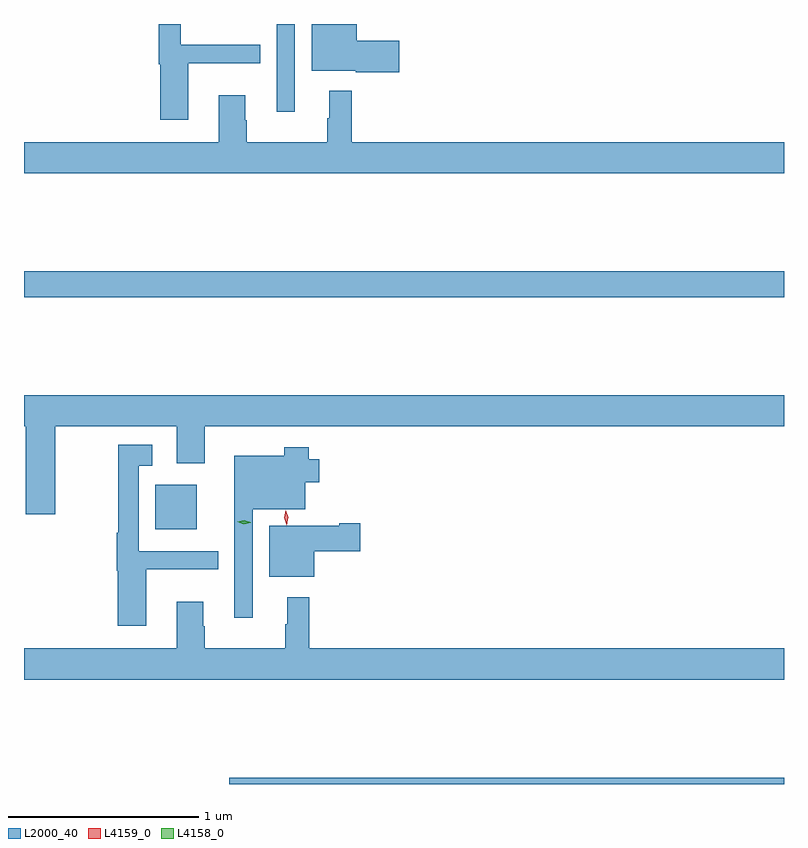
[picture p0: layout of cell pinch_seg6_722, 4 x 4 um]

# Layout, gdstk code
import gdstk
lib = gdstk.Library(unit=1e-6, precision=1e-09)
def R(c, l, rs):  # rectangles x0, y0, x1, y1
    for r in rs: c.add(gdstk.rectangle(r[:2], r[2:], *l))
def P(c, l, *ps):  # polygons
    for p in ps: c.add(gdstk.Polygon(p, *l))
L2000_40 = (2000, 40)
L4158_0 = (4158, 0)
L4159_0 = (4159, 0)

pinch_seg6_722 = lib.new_cell('pinch_seg6_722')
R(pinch_seg6_722, L2000_40, [(507.143,936.13,510.064,936.164), (506.756,937.472,506.974,937.705), (506.064,938.692,510.064,938.828), (507.393,939.669,507.489,940.13)])
P(pinch_seg6_722, L2000_40, [(508.039,940.042),(507.814,940.042),(507.814,940.13),(507.578,940.13),(507.578,939.884),(507.81,939.884),(507.81,939.877),(508.039,939.877)],
  [(506.929,939.923),(507.308,939.923),(507.308,940.02),(506.889,940.02),(506.889,940.13),(506.773,940.13),(506.773,939.917),(506.78,939.917),(506.78,939.627),(506.929,939.627)],
  [(510.064,939.508),(507.788,939.508),(507.788,939.778),(507.671,939.778),(507.671,939.635),(507.66,939.635),(507.66,939.508),(507.237,939.508),(507.237,939.623),(507.229,939.623),(507.229,939.754),(507.089,939.754),(507.089,939.508),(506.064,939.508),(506.064,939.344),(510.064,939.344)],
  [(506.229,938.012),(506.867,938.012),(506.867,937.818),(507.016,937.818),(507.016,938.012),(510.064,938.012),(510.064,938.176),(506.064,938.176),(506.064,938.012),(506.074,938.012),(506.074,937.551),(506.229,937.551)],
  [(506.707,937.259),(507.086,937.259),(507.086,937.356),(506.667,937.356),(506.667,937.805),(506.74,937.805),(506.74,937.915),(506.559,937.915),(506.559,937.453),(506.551,937.453),(506.551,937.253),(506.558,937.253),(506.558,936.963),(506.707,936.963)],
  [(507.267,937.577),(507.544,937.577),(507.544,937.718),(507.617,937.718),(507.617,937.84),(507.563,937.84),(507.563,937.903),(507.435,937.903),(507.435,937.858),(507.17,937.858),(507.17,937.481),(507.171,937.481),(507.171,937.005),(507.267,937.005)],
  [(507.592,937.355),(507.835,937.355),(507.835,937.502),(507.722,937.502),(507.722,937.489),(507.356,937.489),(507.356,937.22),(507.592,937.22)],
  [(510.064,936.844),(507.566,936.844),(507.566,937.114),(507.449,937.114),(507.449,936.971),(507.438,936.971),(507.438,936.844),(507.015,936.844),(507.015,936.959),(507.007,936.959),(507.007,937.09),(506.867,937.09),(506.867,936.844),(506.064,936.844),(506.064,936.68),(510.064,936.68)])
P(pinch_seg6_722, L4158_0, [(507.221,937.498),(507.186,937.51),(507.186,937.51),(507.186,937.51),(507.222,937.518),(507.257,937.507),(507.257,937.507),(507.257,937.506)])
P(pinch_seg6_722, L4159_0, [(507.447,937.493),(507.447,937.493),(507.434,937.531),(507.441,937.571),(507.441,937.571),(507.441,937.571),(507.454,937.533),(507.447,937.493)])

lib.write_gds('pinch_seg6_722.gds')
